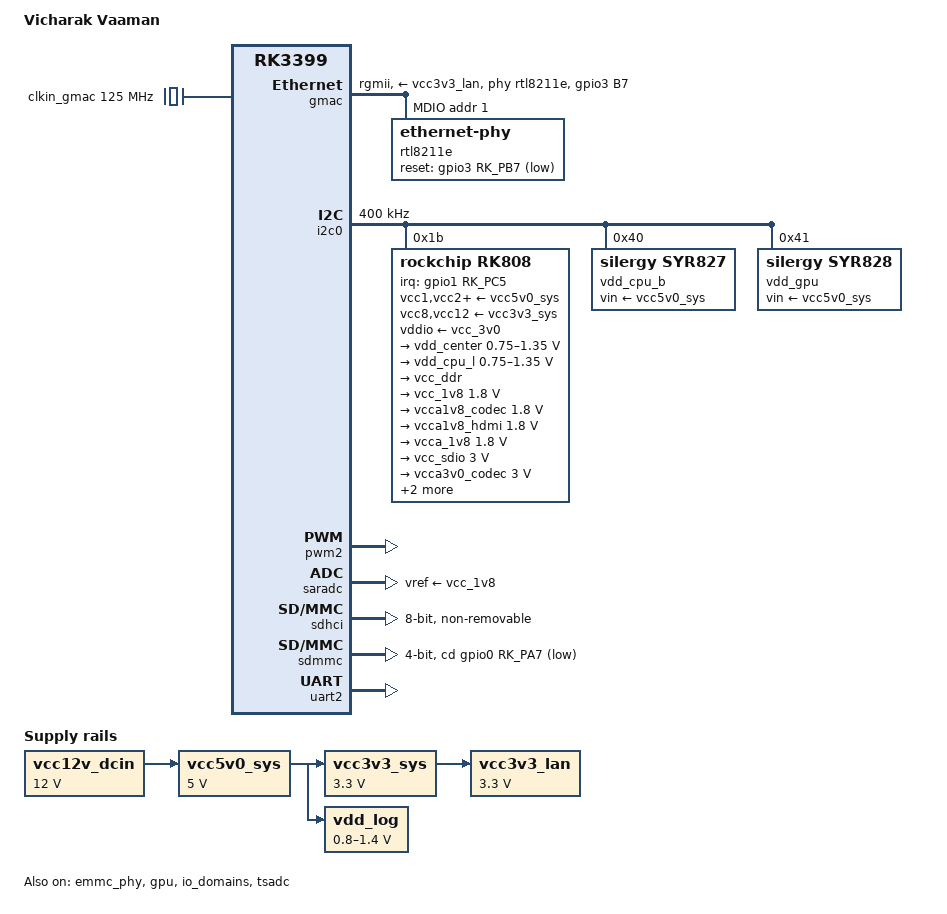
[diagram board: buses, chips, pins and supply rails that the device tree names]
// SPDX-License-Identifier: (GPL-2.0+ OR MIT)
/*
 * Copyright (c) 2026 Vicharak Computers Pvt Ltd
 */

/dts-v1/;
#include "rk3399.dtsi"

/ {
	model = "Vicharak Vaaman";
	compatible = "vicharak,vaaman", "rockchip,rk3399";

	aliases {
		ethernet0 = &gmac;
		mmc0 = &sdhci;
		mmc1 = &sdmmc;
	};

	chosen {
		stdout-path = "serial2:1500000n8";
	};

	clkin_gmac: external-gmac-clock {
		compatible = "fixed-clock";
		clock-frequency = <125000000>;
		clock-output-names = "clkin_gmac";
		#clock-cells = <0>;
	};

	vcc12v_dcin: regulator-dc-12v {
		compatible = "regulator-fixed";
		regulator-name = "vcc12v_dcin";
		regulator-always-on;
		regulator-boot-on;
		regulator-min-microvolt = <12000000>;
		regulator-max-microvolt = <12000000>;
	};

	vcc3v3_lan: regulator-vcc3v3-lan {
		compatible = "regulator-fixed";
		regulator-name = "vcc3v3_lan";
		regulator-always-on;
		regulator-boot-on;
		regulator-min-microvolt = <3300000>;
		regulator-max-microvolt = <3300000>;
		vin-supply = <&vcc3v3_sys>;
	};

	vcc3v3_sys: regulator-vcc3v3-sys {
		compatible = "regulator-fixed";
		regulator-name = "vcc3v3_sys";
		regulator-always-on;
		regulator-boot-on;
		regulator-min-microvolt = <3300000>;
		regulator-max-microvolt = <3300000>;
		vin-supply = <&vcc5v0_sys>;
	};

	vcc5v0_sys: regulator-vcc-sys {
		compatible = "regulator-fixed";
		regulator-name = "vcc5v0_sys";
		regulator-always-on;
		regulator-boot-on;
		regulator-min-microvolt = <5000000>;
		regulator-max-microvolt = <5000000>;
		vin-supply = <&vcc12v_dcin>;
	};

	vdd_log: regulator-vdd-log {
		compatible = "pwm-regulator";
		pwms = <&pwm2 0 25000 1>;
		pwm-supply = <&vcc5v0_sys>;
		regulator-name = "vdd_log";
		regulator-always-on;
		regulator-boot-on;
		regulator-min-microvolt = <800000>;
		regulator-max-microvolt = <1400000>;
	};
};

&cpu_l0 {
	cpu-supply = <&vdd_cpu_l>;
};

&cpu_l1 {
	cpu-supply = <&vdd_cpu_l>;
};

&cpu_l2 {
	cpu-supply = <&vdd_cpu_l>;
};

&cpu_l3 {
	cpu-supply = <&vdd_cpu_l>;
};

&cpu_b0 {
	cpu-supply = <&vdd_cpu_b>;
};

&cpu_b1 {
	cpu-supply = <&vdd_cpu_b>;
};

&emmc_phy {
	rockchip,enable-strobe-pulldown;
	status = "okay";
};

&gmac {
	assigned-clocks = <&cru SCLK_RMII_SRC>;
	assigned-clock-parents = <&clkin_gmac>;
	clock_in_out = "input";
	phy-supply = <&vcc3v3_lan>;
	phy-mode = "rgmii";
	phy-handle = <&rtl8211e>;
	pinctrl-names = "default";
	pinctrl-0 = <&rgmii_pins>, <&phy_rstb>;
	tx_delay = <0x28>;
	rx_delay = <0x11>;
	status = "okay";

	mdio {
		compatible = "snps,dwmac-mdio";
		#address-cells = <1>;
		#size-cells = <0>;

		rtl8211e: ethernet-phy@1 {
			reg = <1>;
			reset-assert-us = <10000>;
			reset-deassert-us = <50000>;
			reset-gpios = <&gpio3 RK_PB7 GPIO_ACTIVE_LOW>;
		};
	};
};

&gpu {
	mali-supply = <&vdd_gpu>;
	status = "okay";
};

&i2c0 {
	clock-frequency = <400000>;
	i2c-scl-rising-time-ns = <168>;
	i2c-scl-falling-time-ns = <4>;
	status = "okay";

	rk808: pmic@1b {
		compatible = "rockchip,rk808";
		reg = <0x1b>;
		interrupt-parent = <&gpio1>;
		interrupts = <RK_PC5 IRQ_TYPE_LEVEL_LOW>;
		#clock-cells = <1>;
		clock-output-names = "xin32k", "rk808-clkout2";
		pinctrl-names = "default";
		pinctrl-0 = <&pmic_int_l>;
		system-power-controller;
		wakeup-source;

		vcc1-supply = <&vcc5v0_sys>;
		vcc2-supply = <&vcc5v0_sys>;
		vcc3-supply = <&vcc5v0_sys>;
		vcc4-supply = <&vcc5v0_sys>;
		vcc6-supply = <&vcc5v0_sys>;
		vcc7-supply = <&vcc5v0_sys>;
		vcc8-supply = <&vcc3v3_sys>;
		vcc9-supply = <&vcc5v0_sys>;
		vcc10-supply = <&vcc5v0_sys>;
		vcc11-supply = <&vcc5v0_sys>;
		vcc12-supply = <&vcc3v3_sys>;
		vddio-supply = <&vcc_3v0>;

		regulators {
			vdd_center: DCDC_REG1 {
				regulator-name = "vdd_center";
				regulator-always-on;
				regulator-boot-on;
				regulator-min-microvolt = <750000>;
				regulator-max-microvolt = <1350000>;
				regulator-ramp-delay = <6001>;

				regulator-state-mem {
					regulator-off-in-suspend;
				};
			};

			vdd_cpu_l: DCDC_REG2 {
				regulator-name = "vdd_cpu_l";
				regulator-always-on;
				regulator-boot-on;
				regulator-initial-mode = <0x2>;
				regulator-min-microvolt = <750000>;
				regulator-max-microvolt = <1350000>;
				regulator-ramp-delay = <6001>;

				regulator-state-mem {
					regulator-off-in-suspend;
				};
			};

			vcc_ddr: DCDC_REG3 {
				regulator-name = "vcc_ddr";
				regulator-always-on;
				regulator-boot-on;

				regulator-state-mem {
					regulator-on-in-suspend;
				};
			};

			vcc_1v8: DCDC_REG4 {
				regulator-name = "vcc_1v8";
				regulator-always-on;
				regulator-boot-on;
				regulator-min-microvolt = <1800000>;
				regulator-max-microvolt = <1800000>;

				regulator-state-mem {
					regulator-on-in-suspend;
				};
			};

			vcca1v8_codec: LDO_REG1 {
				regulator-name = "vcca1v8_codec";
				regulator-always-on;
				regulator-boot-on;
				regulator-min-microvolt = <1800000>;
				regulator-max-microvolt = <1800000>;

				regulator-state-mem {
					regulator-on-in-suspend;
				};
			};

			vcca1v8_hdmi: LDO_REG2 {
				regulator-name = "vcca1v8_hdmi";
				regulator-always-on;
				regulator-boot-on;
				regulator-min-microvolt = <1800000>;
				regulator-max-microvolt = <1800000>;

				regulator-state-mem {
					regulator-off-in-suspend;
				};
			};

			vcca_1v8: LDO_REG3 {
				regulator-name = "vcca_1v8";
				regulator-always-on;
				regulator-boot-on;
				regulator-min-microvolt = <1800000>;
				regulator-max-microvolt = <1800000>;

				regulator-state-mem {
					regulator-on-in-suspend;
				};
			};

			vcc_sdio: LDO_REG4 {
				regulator-name = "vcc_sdio";
				regulator-always-on;
				regulator-boot-on;
				regulator-min-microvolt = <3000000>;
				regulator-max-microvolt = <3000000>;

				regulator-state-mem {
					regulator-on-in-suspend;
				};
			};

			vcca3v0_codec: LDO_REG5 {
				regulator-name = "vcca3v0_codec";
				regulator-always-on;
				regulator-boot-on;
				regulator-min-microvolt = <3000000>;
				regulator-max-microvolt = <3000000>;

				regulator-state-mem {
					regulator-off-in-suspend;
				};
			};

			vcc_1v5: LDO_REG6 {
				regulator-name = "vcc_1v5";
				regulator-always-on;
				regulator-boot-on;
				regulator-min-microvolt = <1500000>;
				regulator-max-microvolt = <1500000>;

				regulator-state-mem {
					regulator-on-in-suspend;
				};
			};

			vcca0v9_hdmi: LDO_REG7 {
				regulator-name = "vcca0v9_hdmi";
				regulator-always-on;
				regulator-boot-on;
				regulator-min-microvolt = <900000>;
				regulator-max-microvolt = <900000>;

				regulator-state-mem {
					regulator-off-in-suspend;
				};
			};

			vcc_3v0: LDO_REG8 {
				regulator-name = "vcc_3v0";
				regulator-always-on;
				regulator-boot-on;
				regulator-min-microvolt = <3000000>;
				regulator-max-microvolt = <3000000>;

				regulator-state-mem {
					regulator-on-in-suspend;
				};
			};

			vcc_cam: SWITCH_REG1 {
				regulator-name = "vcc_cam";
				regulator-always-on;
				regulator-boot-on;

				regulator-state-mem {
					regulator-off-in-suspend;
				};
			};

			vcc_mipi: SWITCH_REG2 {
				regulator-name = "vcc_mipi";
				regulator-always-on;
				regulator-boot-on;

				regulator-state-mem {
					regulator-off-in-suspend;
				};
			};
		};
	};

	vdd_cpu_b: regulator@40 {
		compatible = "silergy,syr827";
		reg = <0x40>;
		fcs,suspend-voltage-selector = <1>;
		pinctrl-names = "default";
		pinctrl-0 = <&vsel1_pin>;
		regulator-name = "vdd_cpu_b";
		regulator-min-microvolt = <712500>;
		regulator-max-microvolt = <1500000>;
		regulator-ramp-delay = <1000>;
		regulator-always-on;
		regulator-boot-on;
		vin-supply = <&vcc5v0_sys>;

		regulator-state-mem {
			regulator-off-in-suspend;
		};
	};

	vdd_gpu: regulator@41 {
		compatible = "silergy,syr828";
		reg = <0x41>;
		fcs,suspend-voltage-selector = <1>;
		pinctrl-names = "default";
		pinctrl-0 = <&vsel2_pin>;
		regulator-name = "vdd_gpu";
		regulator-min-microvolt = <712500>;
		regulator-max-microvolt = <1500000>;
		regulator-ramp-delay = <1000>;
		regulator-always-on;
		regulator-boot-on;
		vin-supply = <&vcc5v0_sys>;

		regulator-state-mem {
			regulator-off-in-suspend;
		};
	};
};

&io_domains {
	audio-supply = <&vcca1v8_codec>;
	bt656-supply = <&vcc_3v0>;
	gpio1830-supply = <&vcc_3v0>;
	sdmmc-supply = <&vcc_sdio>;
	status = "okay";
};

&pinctrl {
	gmac {
		phy_rstb: phy-rstb {
			rockchip,pins = <3 RK_PB7 RK_FUNC_GPIO &pcfg_pull_none>;
		};
	};

	pmic {
		pmic_int_l: pmic-int-l {
			rockchip,pins =
				<1 RK_PC5 RK_FUNC_GPIO &pcfg_pull_up>;
		};

		vsel1_pin: vsel1-pin {
			rockchip,pins =
				<1 RK_PC1 RK_FUNC_GPIO &pcfg_pull_down>;
		};

		vsel2_pin: vsel2-pin {
			rockchip,pins =
				<1 RK_PB6 RK_FUNC_GPIO &pcfg_pull_down>;
		};
	};
};

&pmu_io_domains {
	pmu1830-supply = <&vcc_3v0>;
	status = "okay";
};

&pwm2 {
	status = "okay";
};

&saradc {
	vref-supply = <&vcc_1v8>;
	status = "okay";
};

&sdhci {
	max-frequency = <150000000>;
	bus-width = <8>;
	mmc-hs400-1_8v;
	mmc-hs400-enhanced-strobe;
	non-removable;
	status = "okay";
};

&sdmmc {
	bus-width = <4>;
	cap-mmc-highspeed;
	cap-sd-highspeed;
	cd-gpios = <&gpio0 RK_PA7 GPIO_ACTIVE_LOW>;
	disable-wp;
	max-frequency = <150000000>;
	pinctrl-names = "default";
	pinctrl-0 = <&sdmmc_clk &sdmmc_cd &sdmmc_cmd &sdmmc_bus4>;
	status = "okay";
};

&tsadc {
	/* tshut mode 0:CRU 1:GPIO */
	rockchip,hw-tshut-mode = <1>;
	/* tshut polarity 0:LOW 1:HIGH */
	rockchip,hw-tshut-polarity = <1>;
	status = "okay";
};

&uart2 {
	status = "okay";
};
